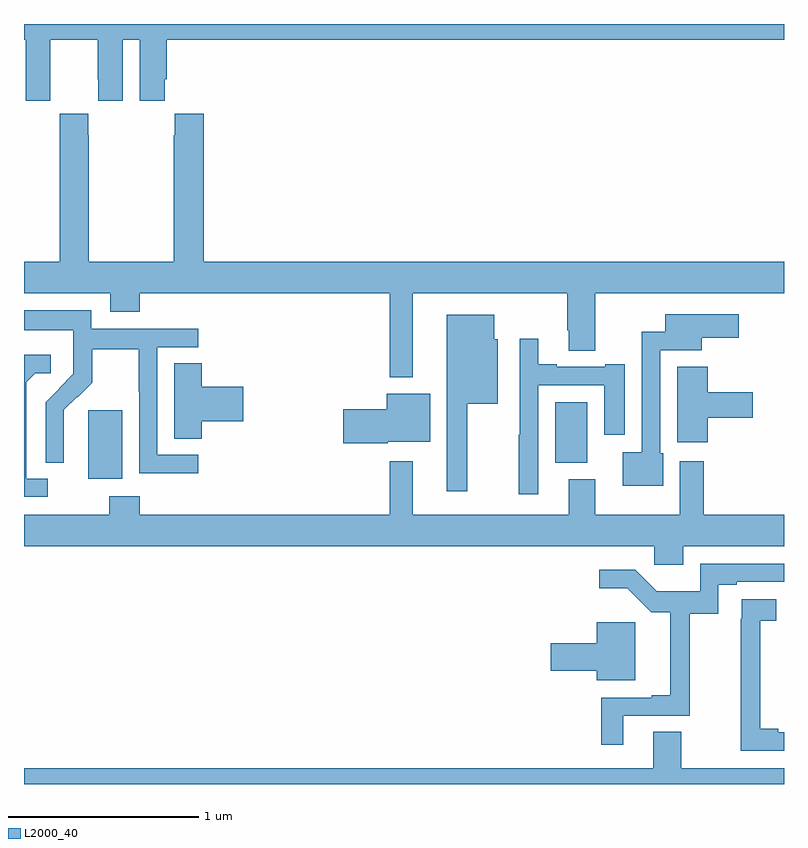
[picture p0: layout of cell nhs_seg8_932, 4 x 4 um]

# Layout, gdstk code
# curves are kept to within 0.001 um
import gdstk
lib = gdstk.Library(unit=1e-6, precision=1e-09)
def R(c, l, rs):  # rectangles x0, y0, x1, y1
    for r in rs: c.add(gdstk.rectangle(r[:2], r[2:], *l))
def P(c, l, *ps):  # polygons
    for p in ps: c.add(gdstk.Polygon(p, *l))
L2000_40 = (2000, 40)

nhs_seg8_932 = lib.new_cell('nhs_seg8_932')
R(nhs_seg8_932, L2000_40, [(171.338,1131.506,171.517,1131.867), (173.795,1131.59,173.965,1131.91)])
P(nhs_seg8_932, L2000_40, [(171,1133.816),(171.008,1133.816),(171.008,1133.496),(171.138,1133.496),(171.138,1133.608),(171.139,1133.608),(171.139,1133.816),(171.389,1133.816),(171.389,1133.608),(171.39,1133.608),(171.39,1133.496),(171.52,1133.496),(171.52,1133.816),(171.608,1133.816),(171.608,1133.496),(171.742,1133.496),(171.742,1133.608),(171.752,1133.608),(171.752,1133.816),(175,1133.816),(175,1133.9),(171,1133.9)],
  [(173.047,1132.484),(173.86,1132.484),(173.86,1132.288),(173.867,1132.288),(173.867,1132.18),(174.007,1132.18),(174.007,1132.484),(175,1132.484),(175,1132.648),(171.947,1132.648),(171.947,1133.428),(171.793,1133.428),(171.793,1133.315),(171.787,1133.315),(171.787,1132.648),(171.342,1132.648),(171.342,1133.315),(171.339,1133.315),(171.339,1133.428),(171.189,1133.428),(171.189,1133.315),(171.187,1133.315),(171.187,1132.648),(171,1132.648),(171,1132.484),(171.455,1132.484),(171.455,1132.385),(171.608,1132.385),(171.608,1132.484),(172.926,1132.484),(172.926,1132.04),(173.047,1132.04)],
  [(171.916,1131.633),(171.702,1131.633),(171.702,1132.2),(171.916,1132.2),(171.916,1132.296),(171.354,1132.296),(171.354,1132.393),(171,1132.393),(171,1132.289),(171.258,1132.289),(171.258,1132.155),(171.26,1132.155),(171.26,1132.058),(171.114,1131.91),(171.114,1131.592),(171.21,1131.592),(171.209,1131.869),(171.279,1131.939),(171.282,1131.936),(171.359,1132.013),(171.359,1132.188),(171.604,1132.188),(171.604,1131.964),(171.606,1131.964),(171.606,1131.535),(171.916,1131.535)],
  [(174.364,1131.642),(174.348,1131.642),(174.348,1132.182),(174.568,1132.182),(174.568,1132.25),(174.763,1132.25),(174.763,1132.372),(174.374,1132.372),(174.374,1132.28),(174.252,1132.28),(174.252,1131.646),(174.152,1131.646),(174.152,1131.47),(174.364,1131.47)],
  [(173.332,1131.902),(173.494,1131.902),(173.494,1132.242),(173.476,1132.242),(173.476,1132.369),(173.225,1132.369),(173.225,1131.441),(173.332,1131.441)],
  [(173.706,1131.999),(174.053,1131.999),(174.053,1131.738),(174.163,1131.738),(174.163,1132.108),(174.059,1132.108),(174.059,1132.095),(173.803,1132.095),(173.803,1132.108),(173.707,1132.108),(173.707,1132.243),(173.61,1132.243),(173.61,1131.738),(173.605,1131.738),(173.605,1131.426),(173.706,1131.426)],
  [(171.124,1131.507),(171.013,1131.507),(171.013,1132.015),(171.06,1132.062),(171.142,1132.062),(171.142,1132.159),(171,1132.159),(171,1131.411),(171.124,1131.411)],
  [(171.935,1131.809),(172.153,1131.809),(172.153,1131.992),(171.935,1131.992),(171.935,1132.115),(171.791,1132.115),(171.791,1131.718),(171.935,1131.718)],
  [(174.599,1131.827),(174.835,1131.827),(174.835,1131.961),(174.599,1131.961),(174.599,1132.096),(174.437,1132.096),(174.437,1131.699),(174.599,1131.699)],
  [(172.914,1131.701),(173.137,1131.701),(173.137,1131.955),(172.91,1131.955),(172.91,1131.872),(172.68,1131.872),(172.68,1131.694),(172.914,1131.694)],
  [(174.469,1131.152),(175,1131.152),(175,1131.316),(174.578,1131.316),(174.578,1131.598),(174.452,1131.598),(174.452,1131.316),(174.007,1131.316),(174.007,1131.505),(173.867,1131.505),(173.867,1131.316),(173.047,1131.316),(173.047,1131.598),(172.926,1131.598),(172.926,1131.316),(171.608,1131.316),(171.608,1131.415),(171.448,1131.415),(171.448,1131.316),(171,1131.316),(171,1131.152),(174.318,1131.152),(174.318,1131.054),(174.469,1131.054)],
  [(174.154,1130.259),(174.503,1130.259),(174.503,1130.797),(174.654,1130.797),(174.654,1130.95),(174.751,1130.95),(174.751,1130.964),(175,1130.964),(175,1131.06),(174.558,1131.06),(174.558,1130.914),(174.329,1130.914),(174.216,1131.027),(174.027,1131.027),(174.027,1130.93),(174.175,1130.93),(174.301,1130.805),(174.401,1130.805),(174.401,1130.368),(174.305,1130.368),(174.305,1130.355),(174.037,1130.355),(174.037,1130.106),(174.154,1130.106)],
  [(175,1130.172),(174.97,1130.172),(174.97,1130.192),(174.874,1130.192),(174.874,1130.475),(174.876,1130.475),(174.876,1130.758),(174.958,1130.758),(174.958,1130.873),(174.778,1130.873),(174.778,1130.771),(174.772,1130.771),(174.772,1130.076),(175,1130.076)],
  [(174.217,1130.752),(174.014,1130.752),(174.014,1130.642),(173.772,1130.642),(173.772,1130.495),(174.014,1130.495),(174.014,1130.447),(174.217,1130.447)],
  [(175,1129.984),(174.459,1129.984),(174.459,1130.174),(174.311,1130.174),(174.311,1129.984),(171,1129.984),(171,1129.9),(175,1129.9)])

lib.write_gds('nhs_seg8_932.gds')
